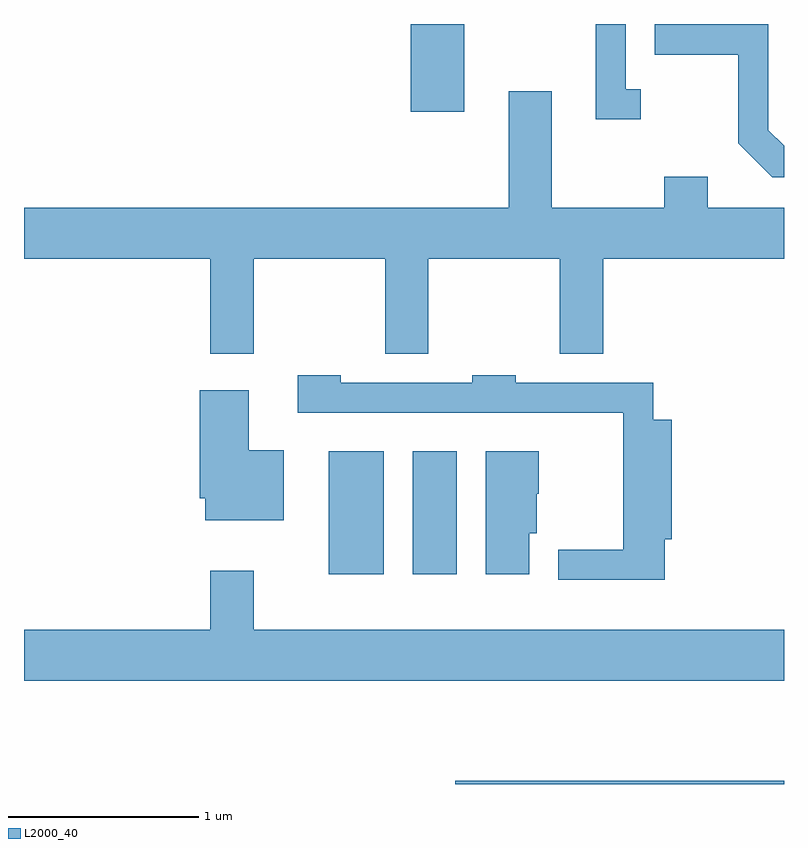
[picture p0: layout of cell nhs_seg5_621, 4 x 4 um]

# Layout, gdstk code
import gdstk
lib = gdstk.Library(unit=1e-6, precision=1e-09)
def R(c, l, rs):  # rectangles x0, y0, x1, y1
    for r in rs: c.add(gdstk.rectangle(r[:2], r[2:], *l))
def P(c, l, *ps):  # polygons
    for p in ps: c.add(gdstk.Polygon(p, *l))
L2000_40 = (2000, 40)

nhs_seg5_621 = lib.new_cell('nhs_seg5_621')
R(nhs_seg5_621, L2000_40, [(205.881,1414.072,207.611,1414.089), (205.216,1415.176,205.504,1415.824), (205.656,1415.176,205.889,1415.824), (205.646,1417.611,205.929,1418.072)])
P(nhs_seg5_621, L2000_40, [(207.611,1417.43),(207.529,1417.512),(207.529,1418.072),(206.931,1418.072),(206.931,1417.911),(207.371,1417.911),(207.371,1417.444),(207.549,1417.266),(207.611,1417.266)],
  [(206.858,1417.729),(206.779,1417.729),(206.779,1418.072),(206.621,1418.072),(206.621,1417.571),(206.858,1417.571)],
  [(204.819,1416.836),(205.511,1416.836),(205.511,1416.336),(205.739,1416.336),(205.739,1416.836),(206.431,1416.836),(206.431,1416.336),(206.659,1416.336),(206.659,1416.836),(207.611,1416.836),(207.611,1417.104),(207.209,1417.104),(207.209,1417.269),(206.981,1417.269),(206.981,1417.104),(206.389,1417.104),(206.389,1417.719),(206.161,1417.719),(206.161,1417.104),(203.611,1417.104),(203.611,1416.836),(204.591,1416.836),(204.591,1416.336),(204.819,1416.336)],
  [(206.984,1415.361),(207.019,1415.361),(207.019,1415.989),(206.924,1415.989),(206.924,1416.184),(206.199,1416.184),(206.199,1416.224),(205.971,1416.224),(205.971,1416.184),(205.279,1416.184),(205.279,1416.224),(205.051,1416.224),(205.051,1416.026),(206.766,1416.026),(206.766,1415.304),(206.423,1415.304),(206.423,1415.146),(206.984,1415.146)],
  [(204.979,1415.829),(204.794,1415.829),(204.794,1416.144),(204.536,1416.144),(204.536,1415.576),(204.566,1415.576),(204.566,1415.461),(204.979,1415.461)],
  [(206.269,1415.391),(206.309,1415.391),(206.309,1415.6),(206.319,1415.6),(206.319,1415.824),(206.041,1415.824),(206.041,1415.176),(206.269,1415.176)],
  [(207.611,1414.884),(204.819,1414.884),(204.819,1415.194),(204.591,1415.194),(204.591,1414.884),(203.611,1414.884),(203.611,1414.616),(207.611,1414.616)])

lib.write_gds('nhs_seg5_621.gds')
